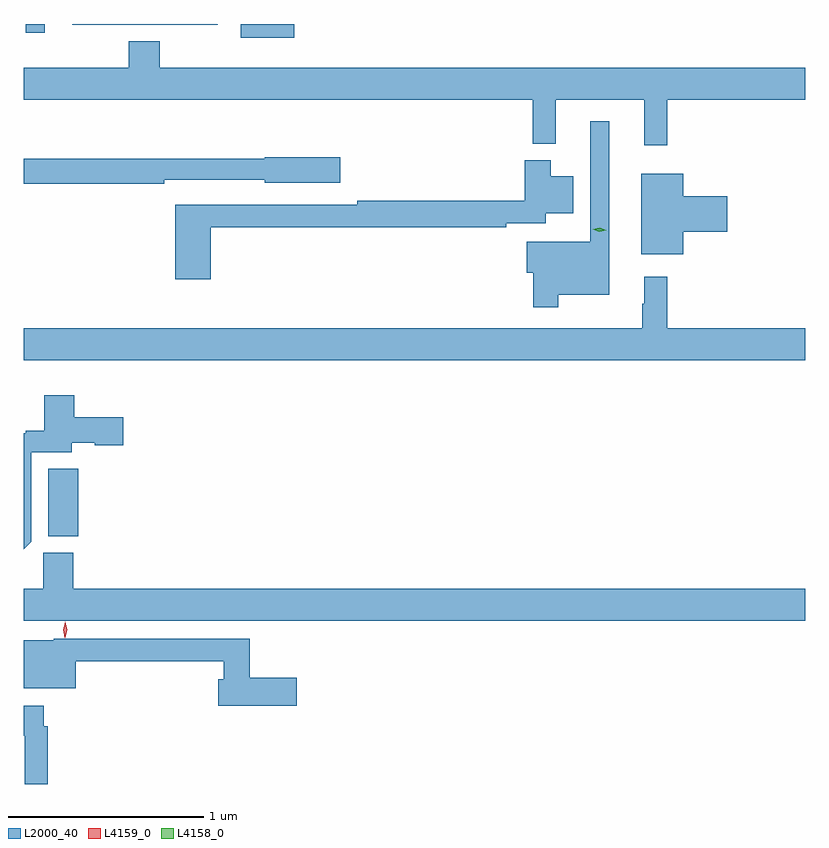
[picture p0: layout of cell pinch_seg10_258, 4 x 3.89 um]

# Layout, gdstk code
import gdstk
lib = gdstk.Library(unit=1e-6, precision=1e-09)
def R(c, l, rs):  # rectangles x0, y0, x1, y1
    for r in rs: c.add(gdstk.rectangle(r[:2], r[2:], *l))
def P(c, l, *ps):  # polygons
    for p in ps: c.add(gdstk.Polygon(p, *l))
L2000_40 = (2000, 40)
L4158_0 = (4158, 0)
L4159_0 = (4159, 0)

pinch_seg10_258 = lib.new_cell('pinch_seg10_258')
R(pinch_seg10_258, L2000_40, [(562.286,1299.415,562.439,1299.761), (563.271,1301.966,563.543,1302.036), (562.17,1301.991,562.267,1302.036), (562.407,1302.033,563.152,1302.036)])
P(pinch_seg10_258, L2000_40, [(565.451,1301.648),(566.159,1301.648),(566.159,1301.812),(562.857,1301.812),(562.857,1301.948),(562.697,1301.948),(562.697,1301.812),(562.159,1301.812),(562.159,1301.648),(564.763,1301.648),(564.763,1301.423),(564.881,1301.423),(564.881,1301.648),(565.334,1301.648),(565.334,1301.415),(565.451,1301.415)],
  [(564.895,1300.652),(565.156,1300.652),(565.156,1301.539),(565.059,1301.539),(565.059,1300.921),(564.732,1300.921),(564.732,1300.763),(564.766,1300.763),(564.766,1300.587),(564.895,1300.587)],
  [(562.88,1301.238),(563.394,1301.238),(563.394,1301.225),(563.779,1301.225),(563.779,1301.355),(563.394,1301.355),(563.394,1301.347),(562.159,1301.347),(562.159,1301.218),(562.88,1301.218)],
  [(563.117,1300.996),(564.628,1300.996),(564.628,1301.016),(564.831,1301.016),(564.831,1301.069),(564.97,1301.069),(564.97,1301.257),(564.856,1301.257),(564.856,1301.338),(564.722,1301.338),(564.722,1301.132),(563.866,1301.132),(563.866,1301.112),(562.934,1301.112),(562.934,1300.731),(563.117,1300.731)],
  [(565.534,1300.973),(565.759,1300.973),(565.759,1301.156),(565.534,1301.156),(565.534,1301.269),(565.319,1301.269),(565.319,1300.859),(565.534,1300.859)],
  [(566.159,1300.48),(565.451,1300.48),(565.451,1300.744),(565.334,1300.744),(565.334,1300.604),(565.323,1300.604),(565.323,1300.48),(562.159,1300.48),(562.159,1300.316),(566.159,1300.316)],
  [(562.198,1299.388),(562.198,1299.846),(562.405,1299.846),(562.405,1299.893),(562.522,1299.893),(562.522,1299.881),(562.669,1299.881),(562.669,1300.023),(562.418,1300.023),(562.418,1300.138),(562.265,1300.138),(562.265,1299.955),(562.169,1299.955),(562.169,1299.942),(562.159,1299.942),(562.159,1299.349)],
  [(566.159,1299.148),(562.412,1299.148),(562.412,1299.33),(562.261,1299.33),(562.261,1299.148),(562.159,1299.148),(562.159,1298.984),(566.159,1298.984)],
  [(563.557,1298.691),(563.315,1298.691),(563.315,1298.892),(562.314,1298.892),(562.314,1298.884),(562.159,1298.884),(562.159,1298.639),(562.426,1298.639),(562.426,1298.776),(563.183,1298.776),(563.183,1298.683),(563.156,1298.683),(563.156,1298.549),(563.557,1298.549)],
  [(562.283,1298.444),(562.263,1298.444),(562.263,1298.548),(562.159,1298.548),(562.159,1298.396),(562.166,1298.396),(562.166,1298.148),(562.283,1298.148)])
P(pinch_seg10_258, L4158_0, [(565.104,1300.974),(565.07,1300.986),(565.069,1300.986),(565.07,1300.986),(565.106,1300.994),(565.14,1300.982),(565.14,1300.982),(565.14,1300.982)])
P(pinch_seg10_258, L4159_0, [(562.371,1298.897),(562.362,1298.938),(562.372,1298.979),(562.373,1298.979),(562.373,1298.979),(562.382,1298.938),(562.372,1298.897),(562.372,1298.897)])

lib.write_gds('pinch_seg10_258.gds')
